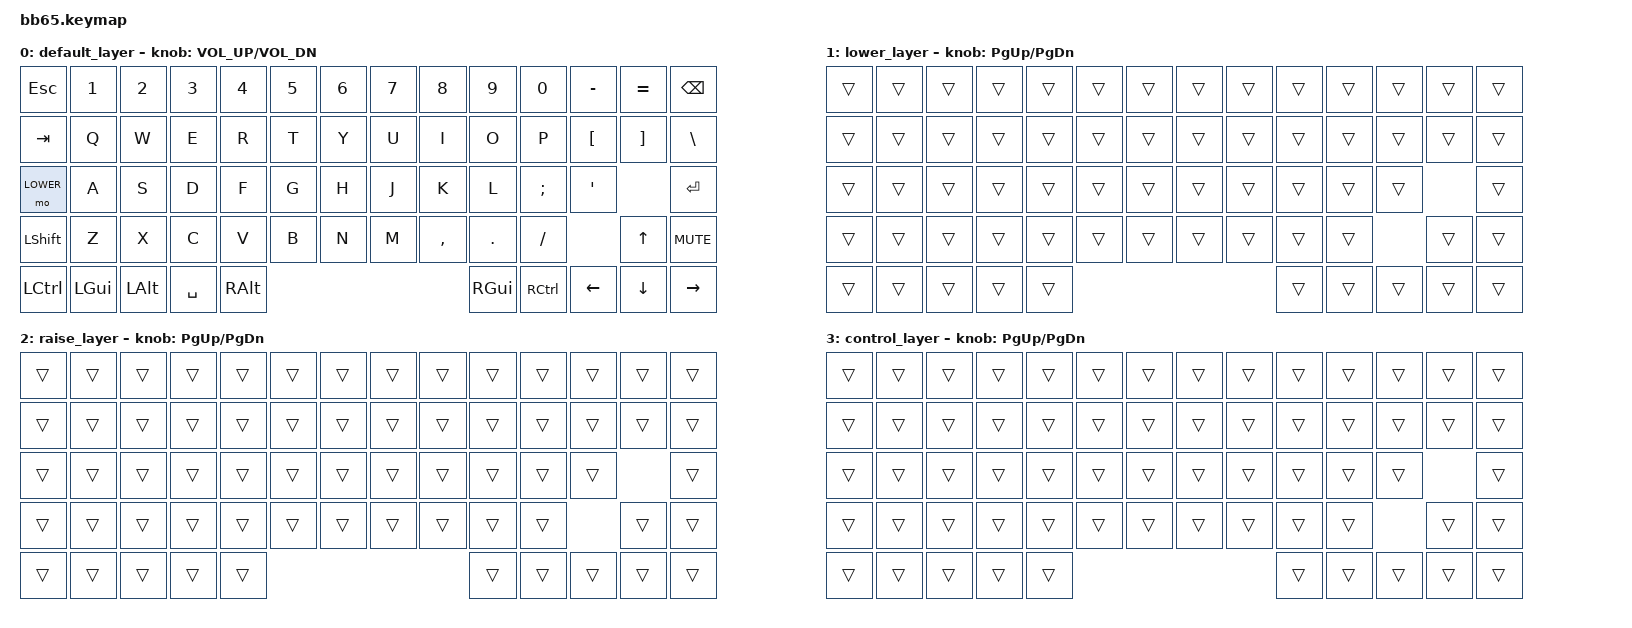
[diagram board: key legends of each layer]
#include <behaviors.dtsi>
#include <dt-bindings/zmk/keys.h>

&encoder_1 {
    status = "okay";
};

#define DEFAULT 0
#define LOWER   1
#define RAISE   2
#define CONTROL 3

/ {

    sensors {
        compatible = "zmk,keymap-sensors";
        sensors = <&encoder_1>;
    };

	keymap {
		compatible = "zmk,keymap";
		
		default_layer {
			bindings = <
                &kp ESC    &kp N1    &kp N2    &kp N3 &kp N4    &kp N5     &kp N6  &kp N7 &kp N8     &kp N9   &kp N0    &kp MINUS  &kp EQUAL &kp BSPC
                &kp TAB    &kp Q     &kp W     &kp E  &kp R     &kp T      &kp Y   &kp U  &kp I      &kp O    &kp P     &kp LBKT   &kp RBKT  &kp BSLH 
                &mo LOWER  &kp A     &kp S     &kp D  &kp F     &kp G      &kp H   &kp J  &kp K      &kp L    &kp SEMI  &kp APOS             &kp ENTER
                &kp LSHFT  &kp Z     &kp X     &kp C  &kp V     &kp B      &kp N   &kp M  &kp COMMA  &kp DOT  &kp FSLH             &kp UP    &kp C_MUTE
                &kp LCTRL  &kp LGUI  &kp LALT                              &kp SPACE      &kp RALT  &kp RGUI &kp RCTRL  &kp LEFT   &kp DOWN  &kp RIGHT
			>;
            sensor-bindings = <&inc_dec_kp C_VOL_UP C_VOL_DN>;
		};

		lower_layer {
			bindings = <
                &trans &trans &trans &trans &trans &trans &trans &trans &trans &trans &trans &trans &trans &trans
                &trans &trans &trans &trans &trans &trans &trans &trans &trans &trans &trans &trans &trans &trans
                &trans &trans &trans &trans &trans &trans &trans &trans &trans &trans &trans &trans        &trans
                &trans &trans &trans &trans &trans &trans &trans &trans &trans &trans &trans        &trans &trans
                &trans &trans &trans                      &trans        &trans &trans &trans &trans &trans &trans
			>;
            sensor-bindings = <&inc_dec_kp PG_UP PG_DN>;

		};
        
        raise_layer {
			bindings = <
                &trans &trans &trans &trans &trans &trans &trans &trans &trans &trans &trans &trans &trans &trans
                &trans &trans &trans &trans &trans &trans &trans &trans &trans &trans &trans &trans &trans &trans
                &trans &trans &trans &trans &trans &trans &trans &trans &trans &trans &trans &trans        &trans
                &trans &trans &trans &trans &trans &trans &trans &trans &trans &trans &trans        &trans &trans
                &trans &trans &trans                      &trans        &trans &trans &trans &trans &trans &trans
			>;
            sensor-bindings = <&inc_dec_kp PG_UP PG_DN>;
		};
        
        control_layer {
			bindings = <
                &trans &trans &trans &trans &trans &trans &trans &trans &trans &trans &trans &trans &trans &trans
                &trans &trans &trans &trans &trans &trans &trans &trans &trans &trans &trans &trans &trans &trans
                &trans &trans &trans &trans &trans &trans &trans &trans &trans &trans &trans &trans        &trans
                &trans &trans &trans &trans &trans &trans &trans &trans &trans &trans &trans        &trans &trans
                &trans &trans &trans                      &trans        &trans &trans &trans &trans &trans &trans
			>;
            sensor-bindings = <&inc_dec_kp PG_UP PG_DN>;
		};
	};
};
